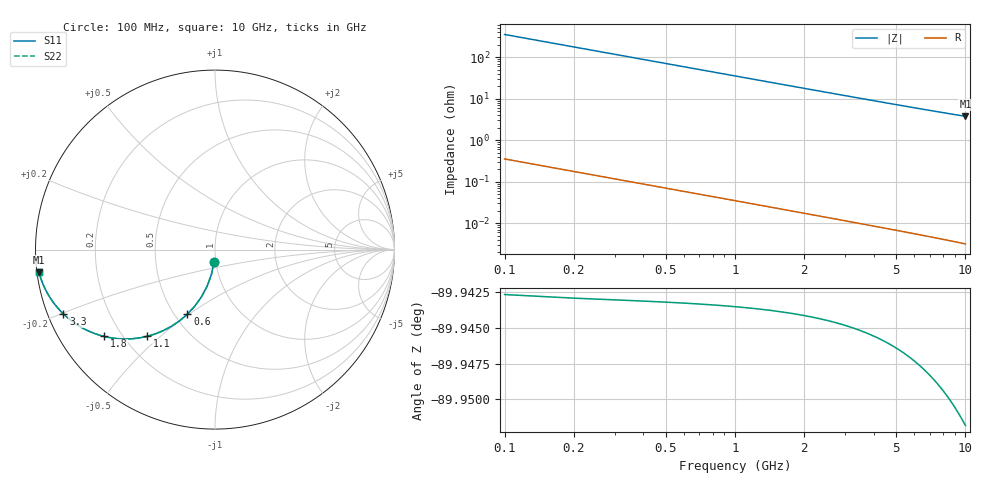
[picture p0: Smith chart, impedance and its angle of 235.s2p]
# Hz S RI R 50.00
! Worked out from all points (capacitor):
!   100 points, 100 MHz to 10 GHz, reference 50 ohm
!   read as one part in shunt: C = 4.52 pF near 100 MHz
!   lowest |Z| = 3.75 ohm at 10 GHz (marker M1)
!   S11 on the Smith chart (normalised r, x): 100 MHz: 0.98, -0.14; 600 MHz: 0.58, -0.49; 1.1 GHz: 0.29, -0.45; 1.8 GHz: 0.13, -0.34; 3.3 GHz: 0.04, -0.20; 10 GHz: 0.01, -0.06
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1e8  -0.00507 -0.0706  0.9949 -0.0708  0.9949 -0.0708  -0.00507 -0.0706
2e8  -0.0199 -0.139  0.9801 -0.1394  0.9801 -0.1394  -0.0199 -0.139
3e8  -0.0436 -0.2035  0.9564 -0.204  0.9564 -0.204  -0.0436 -0.2035
4e8  -0.0749 -0.2623  0.9251 -0.2631  0.9251 -0.2631  -0.0749 -0.2623
5e8  -0.1122 -0.3146  0.8878 -0.3156  0.8878 -0.3156  -0.1122 -0.3146
6e8  -0.1539 -0.3597  0.8461 -0.3609  0.8461 -0.3609  -0.1539 -0.3597
7e8  -0.1983 -0.3975  0.8017 -0.3989  0.8017 -0.3989  -0.1983 -0.3975
8e8  -0.2441 -0.4283  0.7559 -0.4298  0.7559 -0.4298  -0.2441 -0.4283
9e8  -0.29 -0.4524  0.71 -0.4542  0.71 -0.4542  -0.29 -0.4524
1.1e9  -0.3787 -0.4835  0.6212 -0.4857  0.6212 -0.4857  -0.3787 -0.4835
1.4e9  -0.4965 -0.4981  0.5034 -0.5009  0.5034 -0.5009  -0.4965 -0.4981
1.8e9  -0.6194 -0.4832  0.3805 -0.4868  0.3805 -0.4868  -0.6194 -0.4832
2.1e9  -0.6888 -0.4604  0.3112 -0.4646  0.3112 -0.4646  -0.6888 -0.4604
2.5e9  -0.758 -0.4253  0.2419 -0.4303  0.2419 -0.4303  -0.758 -0.4253
2.9e9  -0.8081 -0.3904  0.1918 -0.3962  0.1918 -0.3962  -0.8081 -0.3904
3.3e9  -0.8449 -0.3581  0.155 -0.3648  0.155 -0.3648  -0.8449 -0.3581
3.4e9  -0.8526 -0.3506  0.1474 -0.3574  0.1474 -0.3574  -0.8526 -0.3506
4.2e9  -0.8981 -0.2977  0.1018 -0.3062  0.1018 -0.3062  -0.8981 -0.2977
5.1e9  -0.9285 -0.2518  0.0714 -0.2622  0.0714 -0.2622  -0.9285 -0.2518
6.7e9  -0.9574 -0.1944  0.0425 -0.2082  0.0425 -0.2082  -0.9574 -0.1944
8.4e9  -0.9726 -0.1537  0.0272 -0.1712  0.0272 -0.1712  -0.9726 -0.1537
1e10  -0.9806 -0.1262  0.0191 -0.1473  0.0191 -0.1473  -0.9806 -0.1262
